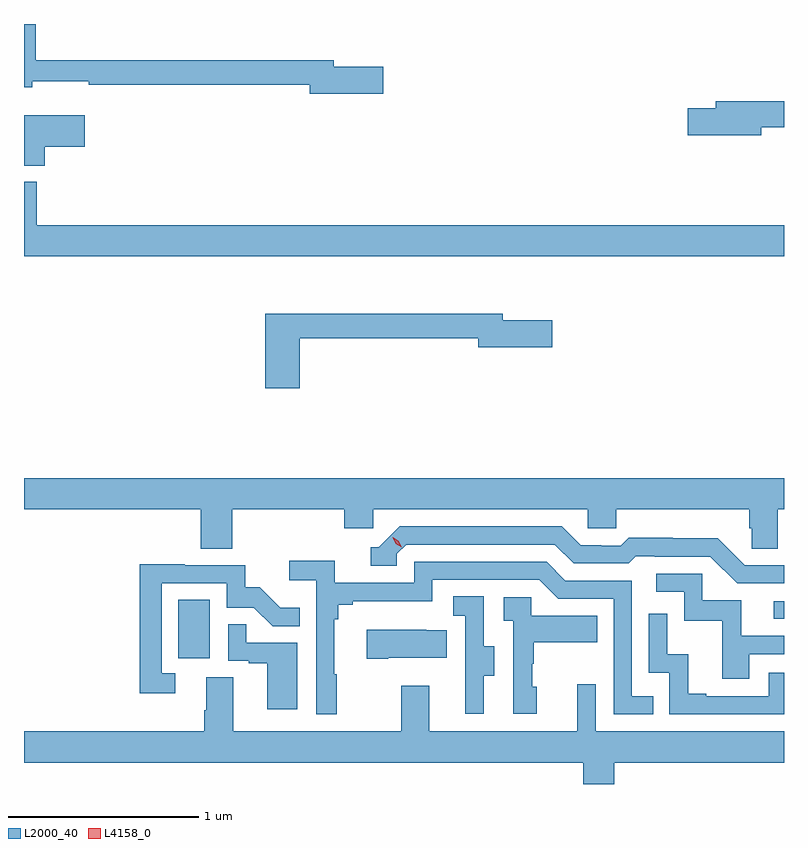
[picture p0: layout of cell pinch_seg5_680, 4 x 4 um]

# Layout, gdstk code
import gdstk
lib = gdstk.Library(unit=1e-6, precision=1e-09)
def R(c, l, rs):  # rectangles x0, y0, x1, y1
    for r in rs: c.add(gdstk.rectangle(r[:2], r[2:], *l))
def P(c, l, *ps):  # polygons
    for p in ps: c.add(gdstk.Polygon(p, *l))
L2000_40 = (2000, 40)
L4158_0 = (4158, 0)

pinch_seg5_680 = lib.new_cell('pinch_seg5_680')
R(pinch_seg5_680, L2000_40, [(1096.832,849.318,1096.996,849.625), (1099.965,849.525,1100.019,849.618)])
P(pinch_seg5_680, L2000_40, [(1097.911,852.429),(1097.65,852.429),(1097.65,852.463),(1096.082,852.463),(1096.082,852.655),(1096.019,852.655),(1096.019,852.323),(1096.063,852.323),(1096.063,852.353),(1096.359,852.353),(1096.359,852.334),(1097.522,852.334),(1097.522,852.287),(1097.911,852.287)],
  [(1099.9,852.112),(1100.019,852.112),(1100.019,852.248),(1099.661,852.248),(1099.661,852.212),(1099.512,852.212),(1099.512,852.07),(1099.9,852.07)],
  [(1096.127,852.01),(1096.339,852.01),(1096.339,852.175),(1096.019,852.175),(1096.019,851.909),(1096.127,851.909)],
  [(1100.019,851.596),(1096.085,851.596),(1096.085,851.824),(1096.019,851.824),(1096.019,851.432),(1100.019,851.432)],
  [(1097.471,851.002),(1098.41,851.002),(1098.41,850.955),(1098.799,850.955),(1098.799,851.097),(1098.538,851.097),(1098.538,851.131),(1097.288,851.131),(1097.288,850.737),(1097.471,850.737)],
  [(1097.114,850.1),(1097.705,850.1),(1097.705,850.002),(1097.856,850.002),(1097.856,850.1),(1098.987,850.1),(1098.987,850.002),(1099.137,850.002),(1099.137,850.1),(1099.835,850.1),(1099.835,850.002),(1099.849,850.002),(1099.849,849.892),(1099.986,849.892),(1099.986,850.1),(1100.019,850.1),(1100.019,850.264),(1096.019,850.264),(1096.019,850.1),(1096.949,850.1),(1096.949,849.892),(1097.114,849.892)],
  [(1100.019,849.807),(1099.812,849.807),(1099.67,849.949),(1099.434,849.949),(1099.434,849.952),(1099.201,849.952),(1099.159,849.909),(1099.056,849.909),(1099.056,849.912),(1098.949,849.912),(1098.85,850.011),(1097.997,850.011),(1097.886,849.9),(1097.843,849.9),(1097.843,849.804),(1097.982,849.804),(1097.982,849.867),(1098.03,849.915),(1098.813,849.915),(1098.912,849.816),(1099.201,849.816),(1099.24,849.855),(1099.339,849.855),(1099.339,849.852),(1099.632,849.852),(1099.773,849.711),(1100.019,849.711)],
  [(1097.665,849.233),(1097.653,849.233),(1097.653,849.521),(1097.672,849.521),(1097.672,849.598),(1097.749,849.598),(1097.749,849.617),(1098.168,849.617),(1098.168,849.729),(1098.732,849.729),(1098.831,849.63),(1099.122,849.63),(1099.122,849.021),(1099.331,849.021),(1099.331,849.117),(1099.218,849.117),(1099.218,849.726),(1098.868,849.726),(1098.769,849.825),(1098.072,849.825),(1098.072,849.714),(1097.654,849.714),(1097.654,849.83),(1097.415,849.83),(1097.415,849.728),(1097.556,849.728),(1097.556,849.021),(1097.665,849.021)],
  [(1096.816,849.237),(1096.743,849.237),(1096.743,849.711),(1097.085,849.711),(1097.085,849.582),(1097.229,849.582),(1097.327,849.484),(1097.471,849.484),(1097.471,849.583),(1097.367,849.583),(1097.26,849.69),(1097.184,849.69),(1097.184,849.807),(1096.865,849.807),(1096.865,849.812),(1096.627,849.812),(1096.627,849.132),(1096.816,849.132)],
  [(1099.837,849.339),(1100.019,849.339),(1100.019,849.435),(1099.795,849.435),(1099.795,849.621),(1099.59,849.621),(1099.59,849.762),(1099.347,849.762),(1099.347,849.666),(1099.494,849.666),(1099.494,849.513),(1099.693,849.513),(1099.693,849.21),(1099.837,849.21)],
  [(1098.439,849.226),(1098.493,849.226),(1098.493,849.381),(1098.438,849.381),(1098.438,849.644),(1098.279,849.644),(1098.279,849.541),(1098.342,849.541),(1098.342,849.237),(1098.341,849.237),(1098.341,849.024),(1098.439,849.024)],
  [(1098.718,849.168),(1098.693,849.168),(1098.693,849.287),(1098.703,849.287),(1098.703,849.401),(1099.037,849.401),(1099.037,849.541),(1098.69,849.541),(1098.69,849.639),(1098.543,849.639),(1098.543,849.515),(1098.594,849.515),(1098.594,849.024),(1098.718,849.024)],
  [(1100.019,849.24),(1099.938,849.24),(1099.938,849.117),(1099.609,849.117),(1099.609,849.13),(1099.514,849.13),(1099.514,849.338),(1099.404,849.338),(1099.404,849.55),(1099.308,849.55),(1099.308,849.24),(1099.416,849.24),(1099.416,849.021),(1100.019,849.021)],
  [(1097.458,849.399),(1097.189,849.399),(1097.189,849.497),(1097.094,849.497),(1097.094,849.303),(1097.201,849.303),(1097.201,849.291),(1097.3,849.291),(1097.3,849.048),(1097.458,849.048)],
  [(1097.935,849.32),(1098.245,849.32),(1098.245,849.463),(1098.137,849.463),(1098.137,849.466),(1097.823,849.466),(1097.823,849.313),(1097.935,849.313)],
  [(1099.126,848.768),(1100.019,848.768),(1100.019,848.932),(1099.029,848.932),(1099.029,849.181),(1098.932,849.181),(1098.932,848.932),(1098.151,848.932),(1098.151,849.172),(1098.004,849.172),(1098.004,848.932),(1097.119,848.932),(1097.119,849.218),(1096.979,849.218),(1096.979,849.044),(1096.967,849.044),(1096.967,848.932),(1096.019,848.932),(1096.019,848.768),(1098.962,848.768),(1098.962,848.655),(1099.126,848.655)])
P(pinch_seg5_680, L4158_0, [(1098.006,849.901),(1097.975,849.92),(1097.959,849.953),(1097.959,849.953),(1097.959,849.953),(1097.99,849.934),(1098.006,849.901),(1098.006,849.901)])

lib.write_gds('pinch_seg5_680.gds')
